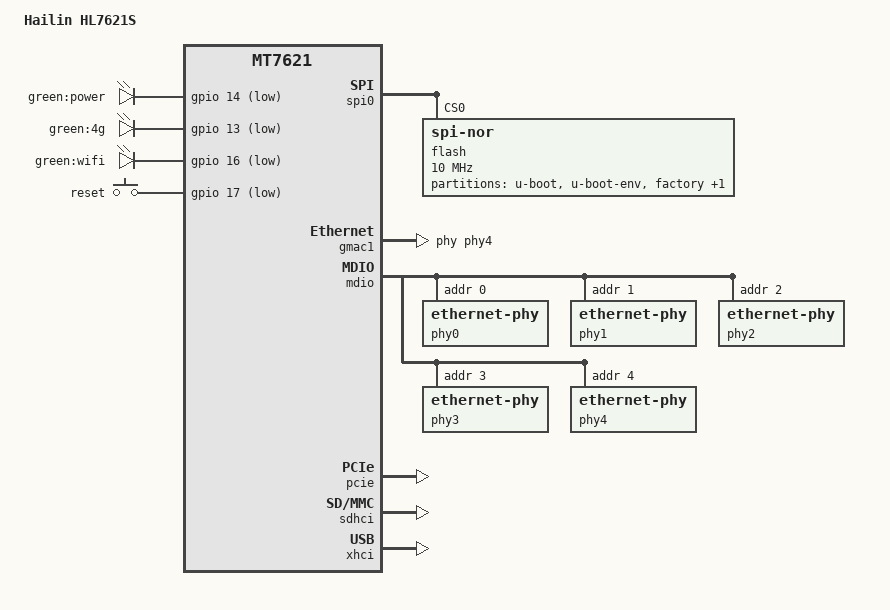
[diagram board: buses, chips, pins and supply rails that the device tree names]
// SPDX-License-Identifier: GPL-2.0-or-later OR MIT
#include "mt7621.dtsi"

#include <dt-bindings/gpio/gpio.h>
#include <dt-bindings/input/input.h>

/ {
	compatible = "hailin,hl7621s", "mediatek,mt7621-soc";
	model = "Hailin HL7621S";

	aliases {
		led-boot = &led_power;
		led-failsafe = &led_power;
		led-running = &led_power;
		led-upgrade = &led_power;
		label-mac-device = &gmac0;
	};

    // ========== 核心修改：补全启动参数兜底 ==========
	chosen {
		bootargs = "console=ttyS0,115200 root=/dev/mtdblock3 rootfstype=squashfs init=/init";
	};
    // ==============================================

	leds {
		compatible = "gpio-leds";

		led_power: power {
			label = "green:power";
			gpios = <&gpio 14 GPIO_ACTIVE_LOW>;
			default-state = "on";
		};

		4g {
			label = "green:4g";
			gpios = <&gpio 13 GPIO_ACTIVE_LOW>;
		};

		wifi {
			label = "green:wifi";
			gpios = <&gpio 16 GPIO_ACTIVE_LOW>;
		};
	};

	keys {
		compatible = "gpio-keys";

		reset {
			label = "reset";
			gpios = <&gpio 17 GPIO_ACTIVE_LOW>;
			linux,code = <KEY_RESTART>;
		};
	};
};

&spi0 {
	status = "okay";

	flash@0 {
		compatible = "jedec,spi-nor";
		reg = <0>;
		spi-max-frequency = <10000000>;
		broken-flash-reset;

		partitions {
			compatible = "fixed-partitions";
			#address-cells = <1>;
			#size-cells = <1>;

			partition@0 {
				label = "u-boot";
				reg = <0x000000 0x030000>;
				read-only;
			};

			partition@30000 {
				label = "u-boot-env";
				reg = <0x030000 0x010000>;
			};

			factory: partition@40000 {
				label = "factory";
				reg = <0x040000 0x010000>;
				read-only;
			};

			partition@50000 {
				compatible = "denx,uimage";
				label = "firmware";
				reg = <0x050000 0xfb0000>;
			};
		};
	};
};

&gmac0 {
	nvmem-cells = <&macaddr_factory_e000>;
	nvmem-cell-names = "mac-address";
};

&gmac1 {
	status = "okay";
	label = "wan";
	phy-handle = <&phy4>;

	nvmem-cells = <&macaddr_factory_e006>;
	nvmem-cell-names = "mac-address";
};

&mdio {
	phy0: ethernet-phy@0 {
		reg = <0>;
		phy-mode = "rgmii-rxid";
	};
	phy1: ethernet-phy@1 {
		reg = <1>;
		phy-mode = "rgmii-rxid";
	};
	phy2: ethernet-phy@2 {
		reg = <2>;
		phy-mode = "rgmii-rxid";
	};
	phy3: ethernet-phy@3 {
		reg = <3>;
		phy-mode = "rgmii-rxid";
	};
	phy4: ethernet-phy@4 {
		reg = <4>;
		phy-mode = "rgmii-rxid";
	};
};

&switch0 {
	ports {
		port@0 {
			status = "okay";
			label = "lan1";
		};
		port@1 {
			status = "okay";
			label = "lan2";
		};
		port@2 {
			status = "okay";
			label = "lan3";
		};
		port@3 {
			status = "okay";
			label = "lan4";
		};
	};
};

&pcie {
	status = "okay";
};

&sdhci {
	status = "okay";
};

&xhci {
	status = "okay";
};

&factory {
	compatible = "nvmem-cells";
	#address-cells = <1>;
	#size-cells = <1>;

	macaddr_factory_e000: macaddr@e000 {
		reg = <0xe000 0x6>;
	};

	macaddr_factory_e006: macaddr@e006 {
		reg = <0xe006 0x6>;
	};
};
